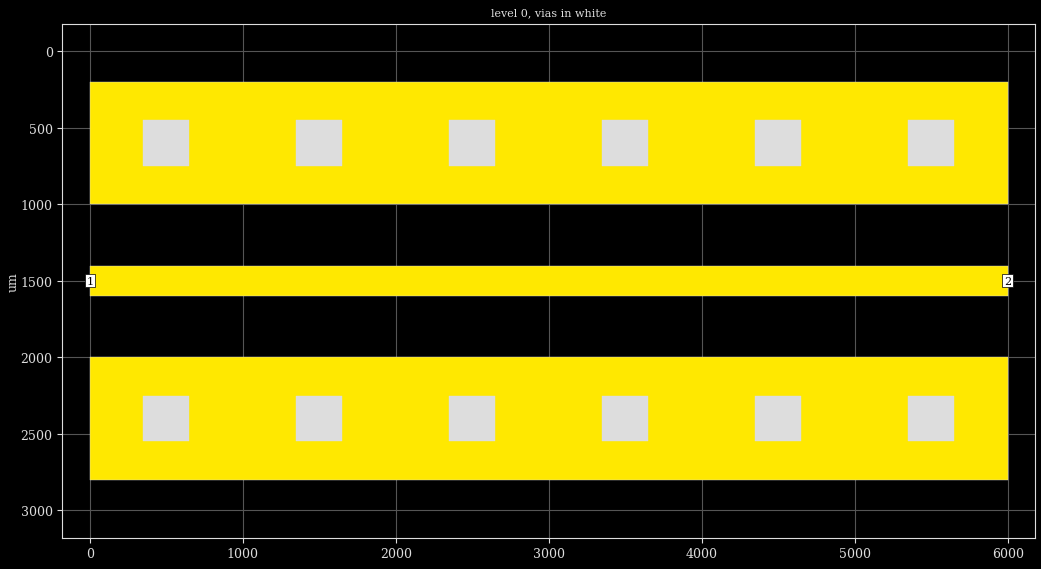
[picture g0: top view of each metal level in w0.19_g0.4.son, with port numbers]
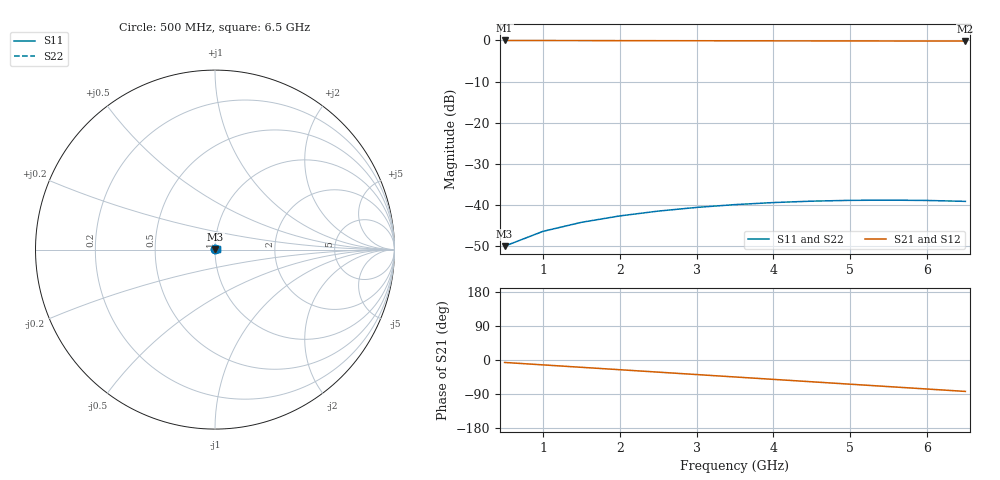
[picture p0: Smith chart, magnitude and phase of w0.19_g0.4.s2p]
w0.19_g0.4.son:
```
FTYP SONPROJ 1 ! Sonnet Project File
VER 19.54
HEADER
END HEADER
DIM
FREQ GHZ
IND NH
LNG UM
ANG DEG
CON /OH
CAP PF
RES OH
END DIM
FREQ
SWEEP 0.5 6.5 0.5
END FREQ
CONTROL
STD
OPTIONS  -d
SPEED 0
END CONTROL
GEO
TMET "Lossless" 0 SUP 0 0 0 0
BMET "Lossless" 0 SUP 0 0 0 0
MET "Cu35" 1 NOR 5.8e7 0 35
BOX 1 6000.0 3000.0 600 300 20 0
      1000.0 1 1 0 0 0 0 "Air"
      99.4 4.1000 1 0.0200 0 0 0 "PP3313"
POR1 STD
POLY 1 1
3
1 50 0 0 0 0.0 1500.0
POR1 STD
POLY 1 1
1
2 50 0 0 0 6000.0 1500.0
NUM 15
0 5 0 N 1 1 1 100 100 0 0 0 Y
0.0 1400.0
6000.0 1400.0
6000.0 1600.0
0.0 1600.0
0.0 1400.0
END
0 5 0 N 2 1 1 100 100 0 0 0 Y
0.0 200.0
6000.0 200.0
6000.0 1000.0
0.0 1000.0
0.0 200.0
END
0 5 0 N 3 1 1 100 100 0 0 0 Y
0.0 2000.0
6000.0 2000.0
6000.0 2800.0
0.0 2800.0
0.0 2000.0
END
VIA POLYGON
0 5 0 V 100 1 1 100 100 0 0 0 Y
TOLEVEL GND RING COVERS
350.0 450.0
650.0 450.0
650.0 750.0
350.0 750.0
350.0 450.0
END
VIA POLYGON
0 5 0 V 101 1 1 100 100 0 0 0 Y
TOLEVEL GND RING COVERS
350.0 2250.0
650.0 2250.0
650.0 2550.0
350.0 2550.0
350.0 2250.0
END
VIA POLYGON
0 5 0 V 102 1 1 100 100 0 0 0 Y
TOLEVEL GND RING COVERS
1350.0 450.0
1650.0 450.0
1650.0 750.0
1350.0 750.0
1350.0 450.0
END
VIA POLYGON
0 5 0 V 103 1 1 100 100 0 0 0 Y
TOLEVEL GND RING COVERS
1350.0 2250.0
1650.0 2250.0
1650.0 2550.0
1350.0 2550.0
1350.0 2250.0
END
VIA POLYGON
0 5 0 V 104 1 1 100 100 0 0 0 Y
TOLEVEL GND RING COVERS
2350.0 450.0
2650.0 450.0
2650.0 750.0
2350.0 750.0
2350.0 450.0
END
VIA POLYGON
0 5 0 V 105 1 1 100 100 0 0 0 Y
TOLEVEL GND RING COVERS
2350.0 2250.0
2650.0 2250.0
2650.0 2550.0
2350.0 2550.0
2350.0 2250.0
END
VIA POLYGON
0 5 0 V 106 1 1 100 100 0 0 0 Y
TOLEVEL GND RING COVERS
3350.0 450.0
3650.0 450.0
3650.0 750.0
3350.0 750.0
3350.0 450.0
END
VIA POLYGON
0 5 0 V 107 1 1 100 100 0 0 0 Y
TOLEVEL GND RING COVERS
3350.0 2250.0
3650.0 2250.0
3650.0 2550.0
3350.0 2550.0
3350.0 2250.0
END
VIA POLYGON
0 5 0 V 108 1 1 100 100 0 0 0 Y
TOLEVEL GND RING COVERS
4350.0 450.0
4650.0 450.0
4650.0 750.0
4350.0 750.0
4350.0 450.0
END
VIA POLYGON
0 5 0 V 109 1 1 100 100 0 0 0 Y
TOLEVEL GND RING COVERS
4350.0 2250.0
4650.0 2250.0
4650.0 2550.0
4350.0 2550.0
4350.0 2250.0
END
VIA POLYGON
0 5 0 V 110 1 1 100 100 0 0 0 Y
TOLEVEL GND RING COVERS
5350.0 450.0
5650.0 450.0
5650.0 750.0
5350.0 750.0
5350.0 450.0
END
VIA POLYGON
0 5 0 V 111 1 1 100 100 0 0 0 Y
TOLEVEL GND RING COVERS
5350.0 2250.0
5650.0 2250.0
5650.0 2550.0
5350.0 2550.0
5350.0 2250.0
END
END GEO
FILEOUT
TS D Y $BASENAME.s2p 15 S RI R 50.00000
END FILEOUT
```
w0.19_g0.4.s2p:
! Sonnet Data File
! From: em Version : 19.54.2026
! From Project: w0.19_g0.4
! Data is De-embedded
! Data File Written: 11/09/2026 23:35:48
!< HDATE 11/09/2026 23:35:03
!< MDATE 11/09/2026 23:35:03
# GHZ S RI R 50.00000
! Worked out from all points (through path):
!   13 points, 500 MHz to 6.5 GHz, reference 50 ohm
!   highest |S21| = -0.03 dB at 500 MHz (marker M1); lowest = -0.2 dB at 6.5 GHz (marker M2)
!   group delay of S21, straight-line fit = 35.4 ps
!   lowest |S11| = -49.9 dB at 500 MHz (marker M3), VSWR 1.01, Z = 50.1 + j0.287 ohm
!   |S11| at or under -10 dB: start of sweep to end of sweep
!   |S22| runs from -49.9 to -38.8 dB; largest |S21 - S12| = 1e-12
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0.5  0.00139 0.00287  0.9906 -0.1124  0.9906 -0.1124  0.00139 0.00287
1  0.00199 0.00439  0.9701 -0.2217  0.9701 -0.2217  0.00199 0.00439
1.5  0.00266 0.0056  0.9378 -0.3278  0.9378 -0.3278  0.00266 0.0056
2  0.00344 0.00657  0.8942 -0.4293  0.8942 -0.4293  0.00344 0.00657
2.5  0.00433 0.0073  0.8397 -0.5252  0.8397 -0.5252  0.00433 0.0073
3.5  0.00628 0.008  0.7012 -0.6955  0.7012 -0.6955  0.00628 0.008
4.5  0.00813 0.00771  0.5293 -0.8306  0.5293 -0.8306  0.00813 0.00771
5  0.00889 0.00722  0.4334 -0.8829  0.4334 -0.8829  0.00889 0.00722
5.5  0.00948 0.00657  0.3326 -0.9243  0.3326 -0.9243  0.00948 0.00657
6  0.00985 0.00577  0.228 -0.9541  0.228 -0.9541  0.00985 0.00577
6.5  0.01 0.0049  0.1209 -0.9723  0.1209 -0.9723  0.01 0.0049
